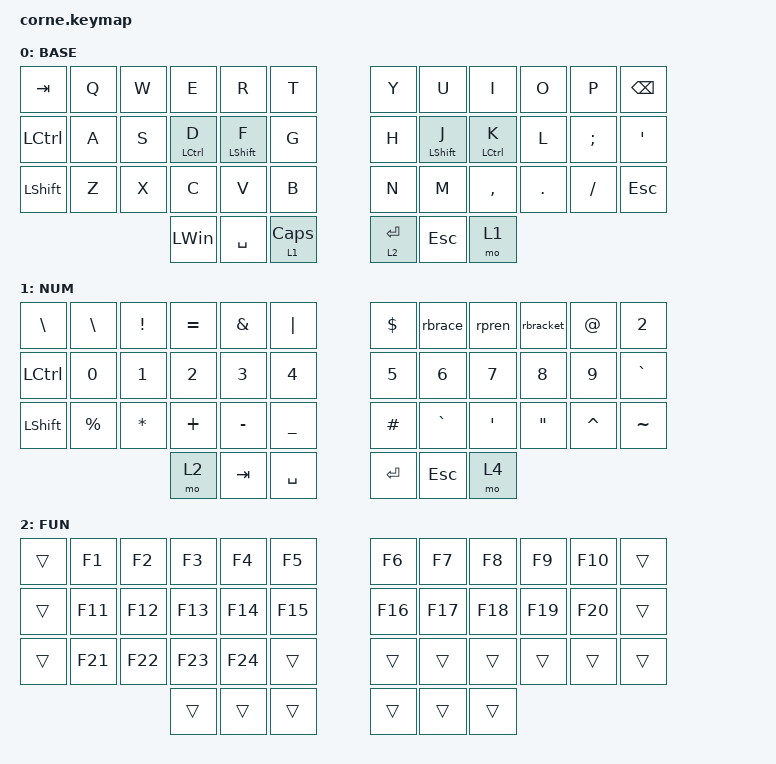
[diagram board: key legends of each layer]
/*
 * Copyright (c) 2020 The ZMK Contributors
 *
 * SPDX-License-Identifier: MIT
 */

#include <behaviors.dtsi>
#include <dt-bindings/zmk/keys.h>

/ {
    behaviors {
        rbrace: right_braces {
            compatible = "zmk,behavior-mod-morph";
            #binding-cells = <0>;
            bindings = <&kp LEFT_BRACE>, <&kp RIGHT_BRACE>;

            mods = <(MOD_LSFT|MOD_RSFT)>;
        };

        rpren: right_paren {
            compatible = "zmk,behavior-mod-morph";
            #binding-cells = <0>;
            bindings = <&kp LEFT_PARENTHESIS>, <&kp RIGHT_PARENTHESIS>;

            mods = <(MOD_LSFT|MOD_RSFT)>;
        };

        rbracket: right_bracket {
            compatible = "zmk,behavior-mod-morph";
            #binding-cells = <0>;
            bindings = <&kp LEFT_BRACKET>, <&kp RIGHT_BRACKET>;

            mods = <(MOD_LSFT|MOD_RSFT)>;
        };
    };

    keymap {
        compatible = "zmk,keymap";

        BASE {
            // -----------------------------------------------------------------------------------------
            // |  TAB |  Q  |  W  |  E  |  R  |  T  |   |  Y  |  U   |  I  |  O  |  P  | BKSP |
            // | CTRL |  A  |  S  |  D  |  F  |  G  |   |  H  |  J   |  K  |  L  |  ;  |  '   |
            // | SHFT |  Z  |  X  |  C  |  V  |  B  |   |  N  |  M   |  ,  |  .  |  /  | ESC  |
            //                    | GUI | LWR | SPC |   | ENT | RSE  | ALT |

            bindings = <
&kp TAB    &kp Q  &kp W  &kp E               &kp R             &kp T             &kp Y        &kp U             &kp I        &kp O    &kp P     &kp BSPC
&kp LCTRL  &kp A  &kp S  &mt LEFT_CONTROL D  &mt LEFT_SHIFT F  &kp G             &kp H        &mt LEFT_SHIFT J  &mt LCTRL K  &kp L    &kp SEMI  &kp SQT
&kp LSHFT  &kp Z  &kp X  &kp C               &kp V             &kp B             &kp N        &kp M             &kp COMMA    &kp DOT  &kp FSLH  &kp ESC
                         &kp LEFT_WIN        &kp SPACE         &lt 1 CAPSLOCK    &lt 2 ENTER  &kp ESC           &mo 1
            >;
        };

        NUM {
            // -----------------------------------------------------------------------------------------
            // |  TAB |  !  |  @  |  #  |  $  |  %  |   |  ^  |  &  |  *  |  (  |  )  | BKSP |
            // | CTRL |     |     |     |     |     |   |  -  |  =  |  [  |  ]  |  \  |  `   |
            // | SHFT |     |     |     |     |     |   |  _  |  +  |  {  |  }  | "|" |  ~   |
            //                    | GUI |     | SPC |   | ENT |     | ALT |

            bindings = <
&kp BSLH   &kp BSLH     &kp EXCLAMATION  &kp EQUAL  &kp AMPERSAND  &kp PIPE          &kp DOLLAR  &rbrace     &rpren   &rbracket          &kp AT_SIGN  &kp N2
&kp LCTRL  &kp N0       &kp N1           &kp N2     &kp N3         &kp N4            &kp N5      &kp N6      &kp N7   &kp N8             &kp N9       &kp GRAVE
&kp LSHFT  &kp PERCENT  &kp ASTERISK     &kp PLUS   &kp MINUS      &kp UNDERSCORE    &kp HASH    &kp GRAVE   &kp SQT  &kp DOUBLE_QUOTES  &kp CARET    &kp TILDE
                                         &mo 2      &kp TAB        &kp SPACE         &kp RET     &kp ESCAPE  &mo 4
            >;
        };

        FUN {
            bindings = <
&trans  &kp F1   &kp F2   &kp F3   &kp F4   &kp F5     &kp F6   &kp F7   &kp F8   &kp F9   &kp F10  &trans
&trans  &kp F11  &kp F12  &kp F13  &kp F14  &kp F15    &kp F16  &kp F17  &kp F18  &kp F19  &kp F20  &trans
&trans  &kp F21  &kp F22  &kp F23  &kp F24  &trans     &trans   &trans   &trans   &trans   &trans   &trans
                          &trans   &trans   &trans     &trans   &trans   &trans
            >;
        };
    };
};
